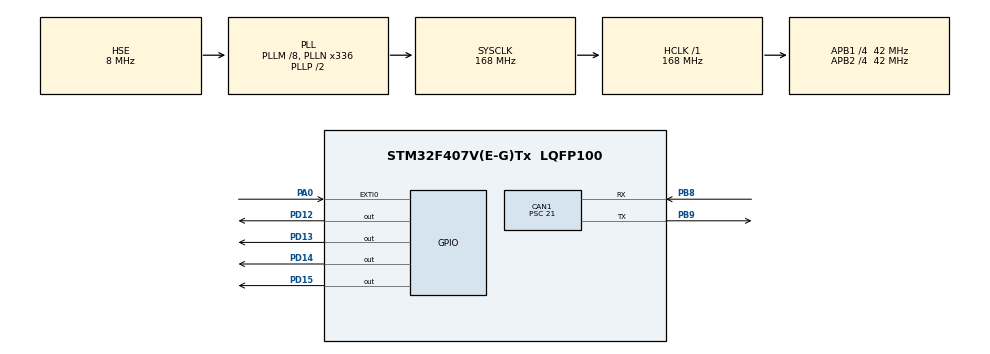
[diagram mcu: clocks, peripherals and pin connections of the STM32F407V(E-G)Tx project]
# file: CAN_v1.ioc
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CAN1.BS1=CAN_BS1_12TQ
CAN1.BS2=CAN_BS2_4TQ
CAN1.CalculateTimeQuantum=500.0
CAN1.Mode=CAN_MODE_LOOPBACK
CAN1.Prescaler=21
Mcu.Family=STM32F4
Mcu.Name=STM32F407V(E-G)Tx
Mcu.Package=LQFP100
NVIC.CAN1_RX0_IRQn=true\:0\:2\:true\:false\:true\:true\:true
NVIC.EXTI0_IRQn=true\:0\:1\:true\:false\:true\:true\:true
NVIC.PriorityGroup=NVIC_PRIORITYGROUP_0
PA0-WKUP.Signal=GPXTI0
PB8.Mode=Master
PB8.Signal=CAN1_RX
PB9.Mode=Master
PB9.Signal=CAN1_TX
PD12.Signal=GPIO_Output
PD13.Signal=GPIO_Output
PD14.Signal=GPIO_Output
PD15.Signal=GPIO_Output
PH0-OSC_IN.Mode=HSE-External-Oscillator
PH0-OSC_IN.Signal=RCC_OSC_IN
PH1-OSC_OUT.Mode=HSE-External-Oscillator
PH1-OSC_OUT.Signal=RCC_OSC_OUT
ProjectManager.HeapSize=0x200
ProjectManager.StackSize=0x400
ProjectManager.TargetToolchain=STM32CubeIDE
RCC.48MHZClocksFreq_Value=84000000
RCC.AHBFreq_Value=168000000
RCC.APB1CLKDivider=RCC_HCLK_DIV4
RCC.APB1Freq_Value=42000000
RCC.APB1TimFreq_Value=84000000
RCC.APB2CLKDivider=RCC_HCLK_DIV4
RCC.APB2Freq_Value=42000000
RCC.APB2TimFreq_Value=84000000
RCC.CortexFreq_Value=168000000
RCC.HCLKFreq_Value=168000000
RCC.HSE_VALUE=8000000
RCC.HSI_VALUE=16000000
RCC.LSE_VALUE=32768
RCC.PLLM=8
RCC.PLLN=336
RCC.PLLSourceVirtual=RCC_PLLSOURCE_HSE
RCC.SYSCLKFreq_VALUE=168000000
RCC.SYSCLKSource=RCC_SYSCLKSOURCE_PLLCLK
RCC.VCOOutputFreq_Value=336000000
board=custom

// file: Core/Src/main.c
/* USER CODE BEGIN Header */
/**
  ******************************************************************************
  * @file           : main.c
  * @brief          : Main program body
  ******************************************************************************
  * @attention
  *
  * <h2><center>&copy; Copyright (c) 2020 STMicroelectronics.
  * All rights reserved.</center></h2>
  *
  * This software component is licensed by ST under BSD 3-Clause license,
  * the "License"; You may not use this file except in compliance with the
  * License. You may obtain a copy of the License at:
  *                        opensource.org/licenses/BSD-3-Clause
  *
  ******************************************************************************
  */
/* USER CODE END Header */

#include "main.h"

CAN_HandleTypeDef hcan1;

/* USER CODE BEGIN PV */

CAN_HandleTypeDef hcan1;
CAN_TxHeaderTypeDef pTxHeader;
uint32_t pTxMailbox;
CAN_RxHeaderTypeDef pRxHeader;
uint8_t a=0;
uint8_t rec=0;

CAN_FilterTypeDef sFilterConfig;

/* USER CODE END PV */

void SystemClock_Config(void);
static void MX_GPIO_Init(void);
static void MX_CAN1_Init(void);
/* USER CODE BEGIN PFP */
//void HAL_CAN_RxFifo0MsgPendingCallback(CAN_HandleTypeDef *hcan);
/* USER CODE END PFP */

int main(void)
{

  /* MCU Configuration--------------------------------------------------------*/

  /* Reset of all peripherals, Initializes the Flash interface and the Systick. */
  HAL_Init();

  /* Configure the system clock */
  SystemClock_Config();

  /* Initialize all configured peripherals */
  MX_GPIO_Init();
  MX_CAN1_Init();
  /* USER CODE BEGIN 2 */
  //HAL_CAN_RegisterCallback(&hcan1, HAL_CAN_RX_FIFO0_MSG_PENDING_CB_ID, HAL_CAN_RxFifo0MsgPendingCallback);
  //lunghezza del frame che sarà trasmessa
  pTxHeader.DLC = 1;
  //specifica il tipo di identificativo per il messaggio che sarà trasmesso
  pTxHeader.IDE = CAN_ID_STD;
  //tipo di frame per il messaggio che sarà trasmesso
  pTxHeader.RTR = CAN_RTR_DATA;
  //standard identifier
  pTxHeader.StdId = 0x244;

  //lunghezza del frame che sarà trasmessa
  pRxHeader.DLC = 1;
  //specifica il tipo di identificativo per il messaggio che sarà trasmesso
  pRxHeader.IDE = CAN_ID_STD;
  //tipo di frame per il messaggio che sarà trasmesso
  pRxHeader.RTR = CAN_RTR_DATA;
  //standard identifier
  pRxHeader.StdId = 0x244;

  sFilterConfig.FilterFIFOAssignment = CAN_FILTER_FIFO0;
  sFilterConfig.FilterMaskIdHigh = 0;
  sFilterConfig.FilterMaskIdLow = 0;
  sFilterConfig.FilterIdLow = 0;
  sFilterConfig.FilterIdHigh = 0x245<<5;
  sFilterConfig.FilterScale = CAN_FILTERSCALE_32BIT;
  sFilterConfig.FilterActivation = CAN_FILTER_ENABLE;
  //CAN_FILTER_ENABLE

  HAL_CAN_Start(&hcan1);
  HAL_CAN_ConfigFilter(&hcan1, &sFilterConfig);
  HAL_CAN_ActivateNotification(&hcan1, CAN_IT_RX_FIFO0_MSG_PENDING);

  /* USER CODE END 2 */

  /* Infinite loop */
  while (1)
  {

  }
}

void SystemClock_Config(void)
{
  RCC_OscInitTypeDef RCC_OscInitStruct = {0};
  RCC_ClkInitTypeDef RCC_ClkInitStruct = {0};

  /** Configure the main internal regulator output voltage
  */
  __HAL_RCC_PWR_CLK_ENABLE();
  __HAL_PWR_VOLTAGESCALING_CONFIG(PWR_REGULATOR_VOLTAGE_SCALE1);
  /** Initializes the CPU, AHB and APB busses clocks
  */
  RCC_OscInitStruct.OscillatorType = RCC_OSCILLATORTYPE_HSE;
  RCC_OscInitStruct.HSEState = RCC_HSE_ON;
  RCC_OscInitStruct.PLL.PLLState = RCC_PLL_ON;
  RCC_OscInitStruct.PLL.PLLSource = RCC_PLLSOURCE_HSE;
  RCC_OscInitStruct.PLL.PLLM = 8;
  RCC_OscInitStruct.PLL.PLLN = 336;
  RCC_OscInitStruct.PLL.PLLP = RCC_PLLP_DIV2;
  RCC_OscInitStruct.PLL.PLLQ = 4;
  if (HAL_RCC_OscConfig(&RCC_OscInitStruct) != HAL_OK)
  {
    Error_Handler();
  }
  /** Initializes the CPU, AHB and APB busses clocks
  */
  RCC_ClkInitStruct.ClockType = RCC_CLOCKTYPE_HCLK|RCC_CLOCKTYPE_SYSCLK
                              |RCC_CLOCKTYPE_PCLK1|RCC_CLOCKTYPE_PCLK2;
  RCC_ClkInitStruct.SYSCLKSource = RCC_SYSCLKSOURCE_PLLCLK;
  RCC_ClkInitStruct.AHBCLKDivider = RCC_SYSCLK_DIV1;
  RCC_ClkInitStruct.APB1CLKDivider = RCC_HCLK_DIV4;
  RCC_ClkInitStruct.APB2CLKDivider = RCC_HCLK_DIV4;

  if (HAL_RCC_ClockConfig(&RCC_ClkInitStruct, FLASH_LATENCY_5) != HAL_OK)
  {
    Error_Handler();
  }
}

static void MX_CAN1_Init(void)
{

  hcan1.Instance = CAN1;
  hcan1.Init.Prescaler = 21;
  hcan1.Init.Mode = CAN_MODE_LOOPBACK;
  hcan1.Init.SyncJumpWidth = CAN_SJW_1TQ;
  hcan1.Init.TimeSeg1 = CAN_BS1_12TQ;
  hcan1.Init.TimeSeg2 = CAN_BS2_4TQ;
  hcan1.Init.TimeTriggeredMode = DISABLE;
  hcan1.Init.AutoBusOff = DISABLE;
  hcan1.Init.AutoWakeUp = DISABLE;
  hcan1.Init.AutoRetransmission = DISABLE;
  hcan1.Init.ReceiveFifoLocked = DISABLE;
  hcan1.Init.TransmitFifoPriority = DISABLE;
  if (HAL_CAN_Init(&hcan1) != HAL_OK)
  {
    Error_Handler();
  }

}

static void MX_GPIO_Init(void)
{
  GPIO_InitTypeDef GPIO_InitStruct = {0};

  /* GPIO Ports Clock Enable */
  __HAL_RCC_GPIOH_CLK_ENABLE();
  __HAL_RCC_GPIOA_CLK_ENABLE();
  __HAL_RCC_GPIOD_CLK_ENABLE();
  __HAL_RCC_GPIOB_CLK_ENABLE();

  /*Configure GPIO pin Output Level */
  HAL_GPIO_WritePin(GPIOD, GPIO_PIN_12|GPIO_PIN_13|GPIO_PIN_14|GPIO_PIN_15, GPIO_PIN_RESET);

  /*Configure GPIO pin : PA0 */
  GPIO_InitStruct.Pin = GPIO_PIN_0;
  GPIO_InitStruct.Mode = GPIO_MODE_IT_RISING;
  GPIO_InitStruct.Pull = GPIO_NOPULL;
  HAL_GPIO_Init(GPIOA, &GPIO_InitStruct);

  /*Configure GPIO pins : PD12 PD13 PD14 PD15 */
  GPIO_InitStruct.Pin = GPIO_PIN_12|GPIO_PIN_13|GPIO_PIN_14|GPIO_PIN_15;
  GPIO_InitStruct.Mode = GPIO_MODE_OUTPUT_PP;
  GPIO_InitStruct.Pull = GPIO_NOPULL;
  GPIO_InitStruct.Speed = GPIO_SPEED_FREQ_LOW;
  HAL_GPIO_Init(GPIOD, &GPIO_InitStruct);

  /* EXTI interrupt init*/
  HAL_NVIC_SetPriority(EXTI0_IRQn, 0, 1);
  HAL_NVIC_EnableIRQ(EXTI0_IRQn);

}

/* USER CODE BEGIN 4 */

/*
void HAL_CAN_RxFifo0MsgPendingCallback(CAN_HandleTypeDef *hcan){

	  HAL_CAN_GetRxMessage(&hcan1, CAN_RX_FIFO0, &pRxHeader, &rec);
	  int bit_0 = rec && 00000001;
	  HAL_GPIO_WritePin(GPIOD, GPIO_PIN_11, bit_0);
	  int bit_1 = rec && 00000010;
	  HAL_GPIO_WritePin(GPIOD, GPIO_PIN_12, bit_1);
	  int bit_2 = rec && 00000100;
	  HAL_GPIO_WritePin(GPIOD, GPIO_PIN_13, bit_2);
	  int bit_3 = rec && 00001000;
	  HAL_GPIO_WritePin(GPIOD, GPIO_PIN_14, bit_3);
}
*/
/* USER CODE END 4 */

void Error_Handler(void)
{
}

/************************ (C) COPYRIGHT STMicroelectronics *****END OF FILE****/
